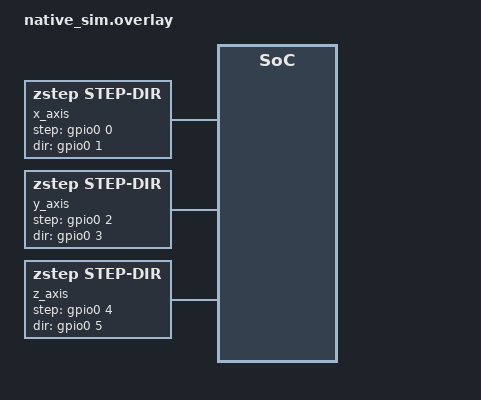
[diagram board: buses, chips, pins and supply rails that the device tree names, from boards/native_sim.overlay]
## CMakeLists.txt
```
# SPDX-License-Identifier: Apache-2.0

cmake_minimum_required(VERSION 3.20.0)
find_package(Zephyr REQUIRED HINTS $ENV{ZEPHYR_BASE})
project(multi_axis)

target_sources(app PRIVATE src/main.c)
```

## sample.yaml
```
# SPDX-License-Identifier: Apache-2.0

sample:
  name: zstep multi axis
common:
  tags:
    - stepper
  platform_allow:
    - native_sim
    - native_sim/native/64
    - nucleo_f446re
    - nrf52840dk/nrf52840
    - rpi_pico
  integration_platforms:
    - native_sim/native/64
  harness: console
  harness_config:
    type: one_line
    regex:
      - "done"
tests:
  sample.zstep.multi_axis: {}
  sample.zstep.multi_axis.shaped:
    extra_args:
      - EXTRA_DTC_OVERLAY_FILE="shaped.overlay"
```

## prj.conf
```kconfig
# SPDX-License-Identifier: Apache-2.0

CONFIG_STEPPER=y
CONFIG_LOG=y
```

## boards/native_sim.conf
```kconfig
# SPDX-License-Identifier: Apache-2.0

CONFIG_COUNTER_NATIVE_SIM_FREQUENCY=1000000
```

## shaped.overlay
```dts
/* SPDX-License-Identifier: Apache-2.0 */

/*
 * Input shaping for the XY axes, as measured on a printer frame.
 */

&x_axis {
	input-shaper = "ei";
	input-shaper-frequency-centihz = <4000>;
	input-shaper-buffer-steps = <256>;
};

&y_axis {
	input-shaper = "zvd";
	input-shaper-frequency-centihz = <5200>;
	input-shaper-buffer-steps = <256>;
};
```

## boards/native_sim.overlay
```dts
/* SPDX-License-Identifier: Apache-2.0 */

#include <zephyr/dt-bindings/gpio/gpio.h>

/ {
	x_axis: x-axis {
		compatible = "zstep,step-dir";
		step-gpios = <&gpio0 0 GPIO_ACTIVE_HIGH>;
		dir-gpios = <&gpio0 1 GPIO_ACTIVE_HIGH>;
		counter = <&counter0>;
		counter-channel = <0>;
	};

	y_axis: y-axis {
		compatible = "zstep,step-dir";
		step-gpios = <&gpio0 2 GPIO_ACTIVE_HIGH>;
		dir-gpios = <&gpio0 3 GPIO_ACTIVE_HIGH>;
		counter = <&counter0>;
		counter-channel = <1>;
	};

	z_axis: z-axis {
		compatible = "zstep,step-dir";
		step-gpios = <&gpio0 4 GPIO_ACTIVE_HIGH>;
		dir-gpios = <&gpio0 5 GPIO_ACTIVE_HIGH>;
		counter = <&counter0>;
		counter-channel = <2>;
	};
};
```

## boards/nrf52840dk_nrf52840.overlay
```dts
/* SPDX-License-Identifier: Apache-2.0 */

/*
 * Arduino CNC shield v3 wiring, all three axes share TIMER3.
 */

#include <zephyr/dt-bindings/gpio/gpio.h>

&timer3 {
	status = "okay";
	/* 16 MHz / 2^4 = 1 MHz */
	prescaler = <4>;
};

/ {
	x_axis: x-axis {
		compatible = "zstep,step-dir";
		step-gpios = <&arduino_header 8 GPIO_ACTIVE_HIGH>;	/* D2 */
		dir-gpios = <&arduino_header 11 GPIO_ACTIVE_HIGH>;	/* D5 */
		counter = <&timer3>;
		counter-channel = <0>;
	};

	y_axis: y-axis {
		compatible = "zstep,step-dir";
		step-gpios = <&arduino_header 9 GPIO_ACTIVE_HIGH>;	/* D3 */
		dir-gpios = <&arduino_header 12 GPIO_ACTIVE_HIGH>;	/* D6 */
		counter = <&timer3>;
		counter-channel = <1>;
	};

	z_axis: z-axis {
		compatible = "zstep,step-dir";
		step-gpios = <&arduino_header 10 GPIO_ACTIVE_HIGH>;	/* D4 */
		dir-gpios = <&arduino_header 13 GPIO_ACTIVE_HIGH>;	/* D7 */
		counter = <&timer3>;
		counter-channel = <2>;
	};
};
```

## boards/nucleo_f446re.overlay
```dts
/* SPDX-License-Identifier: Apache-2.0 */

/*
 * Arduino CNC shield v3 wiring, all three axes share the 32-bit TIM5.
 */

#include <zephyr/dt-bindings/gpio/gpio.h>

&timers5 {
	status = "okay";
	/* 96 MHz timer clock / 96 = 1 MHz */
	st,prescaler = <95>;

	tim5_counter: counter {
		status = "okay";
	};
};

/ {
	x_axis: x-axis {
		compatible = "zstep,step-dir";
		step-gpios = <&arduino_header 8 GPIO_ACTIVE_HIGH>;	/* D2 */
		dir-gpios = <&arduino_header 11 GPIO_ACTIVE_HIGH>;	/* D5 */
		counter = <&tim5_counter>;
		counter-channel = <0>;
	};

	y_axis: y-axis {
		compatible = "zstep,step-dir";
		step-gpios = <&arduino_header 9 GPIO_ACTIVE_HIGH>;	/* D3 */
		dir-gpios = <&arduino_header 12 GPIO_ACTIVE_HIGH>;	/* D6 */
		counter = <&tim5_counter>;
		counter-channel = <1>;
	};

	z_axis: z-axis {
		compatible = "zstep,step-dir";
		step-gpios = <&arduino_header 10 GPIO_ACTIVE_HIGH>;	/* D4 */
		dir-gpios = <&arduino_header 13 GPIO_ACTIVE_HIGH>;	/* D7 */
		counter = <&tim5_counter>;
		counter-channel = <2>;
	};
};
```

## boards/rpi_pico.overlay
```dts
/* SPDX-License-Identifier: Apache-2.0 */

/*
 * All three axes share the 1 MHz system timer, one alarm each.
 */

#include <zephyr/dt-bindings/gpio/gpio.h>

/ {
	x_axis: x-axis {
		compatible = "zstep,step-dir";
		step-gpios = <&gpio0 2 GPIO_ACTIVE_HIGH>;
		dir-gpios = <&gpio0 3 GPIO_ACTIVE_HIGH>;
		counter = <&timer>;
		counter-channel = <0>;
	};

	y_axis: y-axis {
		compatible = "zstep,step-dir";
		step-gpios = <&gpio0 4 GPIO_ACTIVE_HIGH>;
		dir-gpios = <&gpio0 5 GPIO_ACTIVE_HIGH>;
		counter = <&timer>;
		counter-channel = <1>;
	};

	z_axis: z-axis {
		compatible = "zstep,step-dir";
		step-gpios = <&gpio0 6 GPIO_ACTIVE_HIGH>;
		dir-gpios = <&gpio0 7 GPIO_ACTIVE_HIGH>;
		counter = <&timer>;
		counter-channel = <2>;
	};
};
```

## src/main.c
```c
/* SPDX-License-Identifier: Apache-2.0 */

#include <zephyr/drivers/stepper/stepper_ctrl.h>
#include <zephyr/kernel.h>
#include <zephyr/sys/printk.h>
#include <zstep/zstep.h>

static const struct device *const axes[] = {
	DEVICE_DT_GET(DT_NODELABEL(x_axis)),
	DEVICE_DT_GET(DT_NODELABEL(y_axis)),
	DEVICE_DT_GET(DT_NODELABEL(z_axis)),
};

static const struct stepper_ctrl_ramp limits = {
	.acceleration_max = 20000,
	.speed_max = 8000,
	.deceleration_max = 20000,
};

static const int32_t path[][ARRAY_SIZE(axes)] = {
	{8000, 0, 0},        /* +X */
	{0, 8000, 0},        /* +Y */
	{-8000, 0, 0},       /* -X */
	{0, -8000, 1600},    /* -Y, Z up */
	{8000, 8000, -1600}, /* diagonal, Z down */
	{-8000, -8000, 0},   /* diagonal back to the origin */
};

static K_SEM_DEFINE(finished, 0, ARRAY_SIZE(axes));

static void on_event(const struct device *dev, enum stepper_ctrl_event event, void *user_data)
{
	if (event == STEPPER_CTRL_EVENT_STEPS_COMPLETED || event == STEPPER_CTRL_EVENT_STOPPED) {
		k_sem_give(&finished);
	}
}

static int wait_for_axes(void)
{
	for (size_t i = 0; i < ARRAY_SIZE(axes); i++) {
		int err = k_sem_take(&finished, K_SECONDS(30));

		if (err != 0) {
			return err;
		}
	}

	return 0;
}

static void print_position(void)
{
	int32_t pos[ARRAY_SIZE(axes)];

	for (size_t i = 0; i < ARRAY_SIZE(axes); i++) {
		stepper_ctrl_get_actual_position(axes[i], &pos[i]);
	}

	printk("X %6d  Y %6d  Z %6d\n", pos[0], pos[1], pos[2]);
}

int main(void)
{
	int err;

	for (size_t i = 0; i < ARRAY_SIZE(axes); i++) {
		if (!device_is_ready(axes[i])) {
			printk("%s is not ready\n", axes[i]->name);
			return 0;
		}

		stepper_ctrl_set_event_cb(axes[i], on_event, NULL);
		stepper_ctrl_configure_ramp(axes[i], &limits);
	}

	for (size_t i = 0; i < ARRAY_SIZE(path); i++) {
		err = zstep_group_move_by(axes, path[i], ARRAY_SIZE(axes), &limits);
		if (err == 0) {
			err = wait_for_axes();
		}

		if (err != 0) {
			printk("segment %zu failed: %d\n", i, err);
			return 0;
		}

		print_position();
	}

	/* Each axis keeps its own timing, so Z can jog while X and Y move independently. */
	stepper_ctrl_move_by(axes[0], 16000);
	stepper_ctrl_move_by(axes[1], -4000);
	stepper_ctrl_run(axes[2], STEPPER_CTRL_DIRECTION_POSITIVE);
	k_msleep(500);
	stepper_ctrl_stop(axes[2]);

	err = wait_for_axes();
	print_position();
	printk("%s\n", err == 0 ? "done" : "timed out");
	return 0;
}
```
